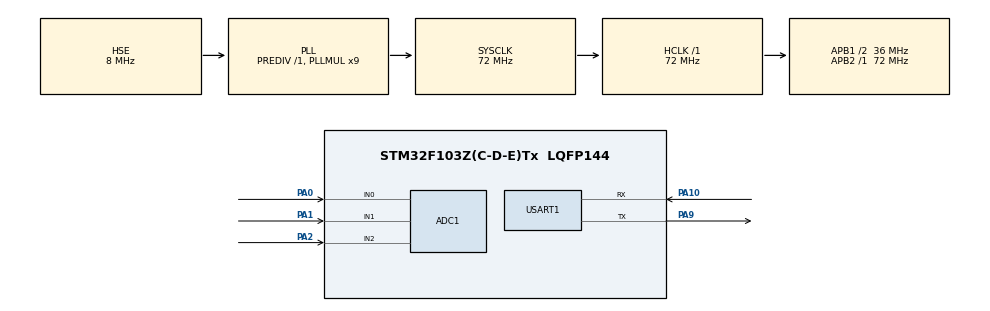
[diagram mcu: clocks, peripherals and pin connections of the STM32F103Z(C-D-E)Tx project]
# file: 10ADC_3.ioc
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ADC1.Channel-0\#ChannelRegularConversion=ADC_CHANNEL_0
ADC1.Channel-5\#ChannelRegularConversion=ADC_CHANNEL_1
ADC1.Channel-6\#ChannelRegularConversion=ADC_CHANNEL_2
ADC1.ContinuousConvMode=DISABLE
ADC1.DiscontinuousConvMode=ENABLE
ADC1.NbrOfConversion=3
ADC1.NbrOfConversionFlag=1
ADC1.Rank-0\#ChannelRegularConversion=1
ADC1.Rank-5\#ChannelRegularConversion=2
ADC1.Rank-6\#ChannelRegularConversion=3
ADC1.SamplingTime-0\#ChannelRegularConversion=ADC_SAMPLETIME_239CYCLES_5
ADC1.SamplingTime-5\#ChannelRegularConversion=ADC_SAMPLETIME_239CYCLES_5
ADC1.SamplingTime-6\#ChannelRegularConversion=ADC_SAMPLETIME_239CYCLES_5
ADC1.master=1
Mcu.Family=STM32F1
Mcu.Name=STM32F103Z(C-D-E)Tx
Mcu.Package=LQFP144
NVIC.PriorityGroup=NVIC_PRIORITYGROUP_4
OSC_IN.Mode=HSE-External-Oscillator
OSC_IN.Signal=RCC_OSC_IN
OSC_OUT.Mode=HSE-External-Oscillator
OSC_OUT.Signal=RCC_OSC_OUT
PA0-WKUP.Signal=ADCx_IN0
PA1.Signal=ADCx_IN1
PA10.Mode=Asynchronous
PA10.Signal=USART1_RX
PA13.Mode=Serial_Wire
PA13.Signal=SYS_JTMS-SWDIO
PA14.Mode=Serial_Wire
PA14.Signal=SYS_JTCK-SWCLK
PA2.Signal=ADCx_IN2
PA9.Mode=Asynchronous
PA9.Signal=USART1_TX
ProjectManager.HeapSize=0x200
ProjectManager.StackSize=0x400
ProjectManager.TargetToolchain=STM32CubeIDE
RCC.ADCPresc=RCC_ADCPCLK2_DIV6
RCC.AHBFreq_Value=72000000
RCC.APB1CLKDivider=RCC_HCLK_DIV2
RCC.APB1Freq_Value=36000000
RCC.APB1TimFreq_Value=72000000
RCC.APB2Freq_Value=72000000
RCC.APB2TimFreq_Value=72000000
RCC.HCLKFreq_Value=72000000
RCC.PLLMUL=RCC_PLL_MUL9
RCC.PLLSourceVirtual=RCC_PLLSOURCE_HSE
RCC.SYSCLKFreq_VALUE=72000000
RCC.SYSCLKSource=RCC_SYSCLKSOURCE_PLLCLK
RCC.USBFreq_Value=72000000
SH.ADCx_IN0.0=ADC1_IN0,IN0
SH.ADCx_IN1.0=ADC1_IN1,IN1
SH.ADCx_IN2.0=ADC1_IN2,IN2
USART1.VirtualMode=VM_ASYNC
board=custom

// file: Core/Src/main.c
/* USER CODE BEGIN Header */
/**
  ******************************************************************************
  * @file           : main.c
  * @brief          : Main program body
  ******************************************************************************
  * @attention
  *
  * Copyright (c) 2024 STMicroelectronics.
  * All rights reserved.
  *
  * This software is licensed under terms that can be found in the LICENSE file
  * in the root directory of this software component.
  * If no LICENSE file comes with this software, it is provided AS-IS.
  *
  ******************************************************************************
  */
/* USER CODE END Header */
#include "main.h"
#include "adc.h"
#include "usart.h"
#include "gpio.h"

/* USER CODE BEGIN PV */
uint32_t ADC_Num;
/* USER CODE END PV */

void SystemClock_Config(void);

int main(void)
{

  /* MCU Configuration--------------------------------------------------------*/

  /* Reset of all peripherals, Initializes the Flash interface and the Systick. */
  HAL_Init();

  /* Configure the system clock */
  SystemClock_Config();

  /* Initialize all configured peripherals */
  MX_GPIO_Init();
  MX_ADC1_Init();
  MX_USART1_UART_Init();
  /* USER CODE BEGIN 2 */
  HAL_ADCEx_Calibration_Start(&hadc1);
  /* USER CODE END 2 */

  /* Infinite loop */
  /* USER CODE BEGIN WHILE */
  while (1)
  {
	  HAL_ADC_Start(&hadc1);
	  if(HAL_OK == HAL_ADC_PollForConversion(&hadc1, 2000))
	  {
		  ADC_Num = HAL_ADC_GetValue(&hadc1);
		  float ADC_Value = 3.3*ADC_Num/4096;
		  printf("PA0 ADC_Value:%1.2fv   ADC Num: %lu\n",ADC_Value, ADC_Num);
	  }else{
		  printf("PA0 ADC Error\n");
	  }

	  HAL_ADC_Start(&hadc1);
	  if(HAL_OK == HAL_ADC_PollForConversion(&hadc1, 2000))
	  {
		  ADC_Num = HAL_ADC_GetValue(&hadc1);
		  float ADC_Value = 3.3*ADC_Num/4096;
		  printf("PA1 ADC_Value:%1.2fv   ADC Num: %lu\n",ADC_Value, ADC_Num);
	  }else{
		  printf("PA1 ADC Error\n");
	  }

	  HAL_ADC_Start(&hadc1);
	  if(HAL_OK == HAL_ADC_PollForConversion(&hadc1, 2000))
	  {
		  ADC_Num = HAL_ADC_GetValue(&hadc1);
		  float ADC_Value = 3.3*ADC_Num/4096;
		  printf("PA2 ADC_Value:%1.2fv   ADC Num: %lu\n",ADC_Value, ADC_Num);
	  }else{
		  printf("PA2 ADC Error\n");
	  }
    /* USER CODE END WHILE */

  }
}

void SystemClock_Config(void)
{
  RCC_OscInitTypeDef RCC_OscInitStruct = {0};
  RCC_ClkInitTypeDef RCC_ClkInitStruct = {0};
  RCC_PeriphCLKInitTypeDef PeriphClkInit = {0};

  /** Initializes the RCC Oscillators according to the specified parameters
  * in the RCC_OscInitTypeDef structure.
  */
  RCC_OscInitStruct.OscillatorType = RCC_OSCILLATORTYPE_HSE;
  RCC_OscInitStruct.HSEState = RCC_HSE_ON;
  RCC_OscInitStruct.HSEPredivValue = RCC_HSE_PREDIV_DIV1;
  RCC_OscInitStruct.HSIState = RCC_HSI_ON;
  RCC_OscInitStruct.PLL.PLLState = RCC_PLL_ON;
  RCC_OscInitStruct.PLL.PLLSource = RCC_PLLSOURCE_HSE;
  RCC_OscInitStruct.PLL.PLLMUL = RCC_PLL_MUL9;
  if (HAL_RCC_OscConfig(&RCC_OscInitStruct) != HAL_OK)
  {
    Error_Handler();
  }

  /** Initializes the CPU, AHB and APB buses clocks
  */
  RCC_ClkInitStruct.ClockType = RCC_CLOCKTYPE_HCLK|RCC_CLOCKTYPE_SYSCLK
                              |RCC_CLOCKTYPE_PCLK1|RCC_CLOCKTYPE_PCLK2;
  RCC_ClkInitStruct.SYSCLKSource = RCC_SYSCLKSOURCE_PLLCLK;
  RCC_ClkInitStruct.AHBCLKDivider = RCC_SYSCLK_DIV1;
  RCC_ClkInitStruct.APB1CLKDivider = RCC_HCLK_DIV2;
  RCC_ClkInitStruct.APB2CLKDivider = RCC_HCLK_DIV1;

  if (HAL_RCC_ClockConfig(&RCC_ClkInitStruct, FLASH_LATENCY_2) != HAL_OK)
  {
    Error_Handler();
  }
  PeriphClkInit.PeriphClockSelection = RCC_PERIPHCLK_ADC;
  PeriphClkInit.AdcClockSelection = RCC_ADCPCLK2_DIV6;
  if (HAL_RCCEx_PeriphCLKConfig(&PeriphClkInit) != HAL_OK)
  {
    Error_Handler();
  }
}

void Error_Handler(void)
{
  __disable_irq();
  while (1)
  {
  }
}
